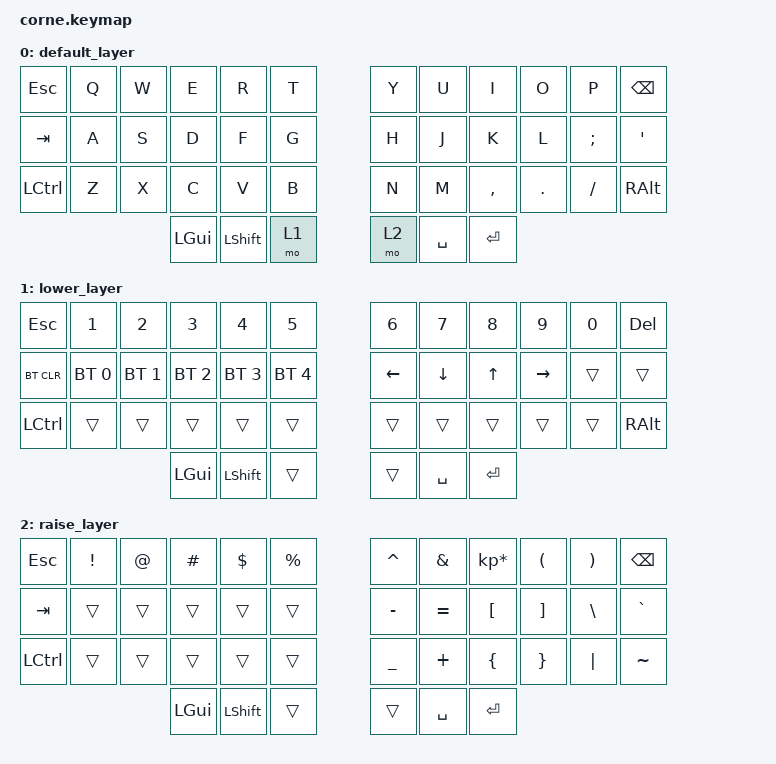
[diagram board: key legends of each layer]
/*
 * Copyright (c) 2020 The ZMK Contributors
 *
 * SPDX-License-Identifier: MIT
 */

#include <behaviors.dtsi>
#include <dt-bindings/zmk/keys.h>
#include <dt-bindings/zmk/bt.h>

/ {
        keymap {
                compatible = "zmk,keymap";

                default_layer {
// -----------------------------------------------------------------------------------------
// |  ESC |  Q  |  W  |  E  |  R  |  T  |   |  Y  |  U   |  I  |  O  |  P  | BKSP |
// |  TAB |  A  |  S  |  D  |  F  |  G  |   |  H  |  J   |  K  |  L  |  ;  |  '   |
// | CTRL |  Z  |  X  |  C  |  V  |  B  |   |  N  |  M   |  ,  |  .  |  /  | ALT  |
//                    | GUI |SHIFT|  L1 |   | L2  | SPC  | RET |
                        bindings = <
   &kp ESC   &kp Q &kp W &kp E &kp R &kp T   &kp Y &kp U  &kp I     &kp O   &kp P    &kp BSPC
   &kp TAB   &kp A &kp S &kp D &kp F &kp G   &kp H &kp J  &kp K     &kp L   &kp SEMI &kp SQT
   &kp LCTRL &kp Z &kp X &kp C &kp V &kp B   &kp N &kp M  &kp COMMA &kp DOT &kp FSLH &kp RALT
                  &kp LGUI &kp LSHFT &mo 1   &mo 2 &kp SPACE &kp RET
                        >;
                };
                lower_layer {
// -----------------------------------------------------------------------------------------
// |  ESC |  1  |  2  |  3  |  4  |  5  |   |  6  |  7  |  8  |  9  |  0  | DEL  |
// | BTCLR| BT1 | BT2 | BT3 | BT4 | BT5 |   | LFT | DWN |  UP | RGT |     |      |
// | CTRL |     |     |     |     |     |   |     |     |     |     |     | ALT  |
//                    | GUI |SHFT |     |   |     | SPC | RET |
                        bindings = <
   &kp ESC    &kp N1       &kp N2       &kp N3       &kp N4       &kp N5         &kp N6   &kp N7   &kp N8 &kp N9    &kp N0 &kp DEL
   &bt BT_CLR &bt BT_SEL 0 &bt BT_SEL 1 &bt BT_SEL 2 &bt BT_SEL 3 &bt BT_SEL 4   &kp LEFT &kp DOWN &kp UP &kp RIGHT &trans &trans
   &kp LCTRL  &trans       &trans       &trans       &trans       &trans         &trans   &trans   &trans &trans    &trans &kp RALT
                          	        &kp LGUI     &kp LSHFT    &trans         &trans  &kp SPACE &kp RET
                        >;
                };

                raise_layer {
// -----------------------------------------------------------------------------------------
// |  ESC |  !  |  @  |  #  |  $  |  %  |   |  ^  |  &  |  *  |  (  |  )  | BKSP |
// |  TAB |     |     |     |     |     |   |  -  |  =  |  [  |  ]  |  \  |  `   |
// | CTRL |     |     |     |     |     |   |  _  |  +  |  {  |  }  | "|" |  ~   |
//                    | GUI |SHFT |     |   |     | SPC | RET |
                        bindings = <
   &kp  ESC  &kp EXCL &kp AT &kp HASH &kp DLLR &kp PRCNT   &kp CARET &kp AMPS  &kp KP_MULTIPLY &kp LPAR &kp RPAR &kp BSPC
   &kp  TAB  &trans   &trans &trans   &trans   &trans      &kp MINUS &kp EQUAL &kp LBKT        &kp RBKT &kp BSLH &kp GRAVE
   &kp LCTRL &trans   &trans &trans   &trans   &trans      &kp UNDER &kp PLUS  &kp LBRC        &kp RBRC &kp PIPE &kp TILDE
                    	     &kp LGUI &kp LSHFT &trans     &trans    &kp SPACE &kp RET
                        >;
                };
        };
};
